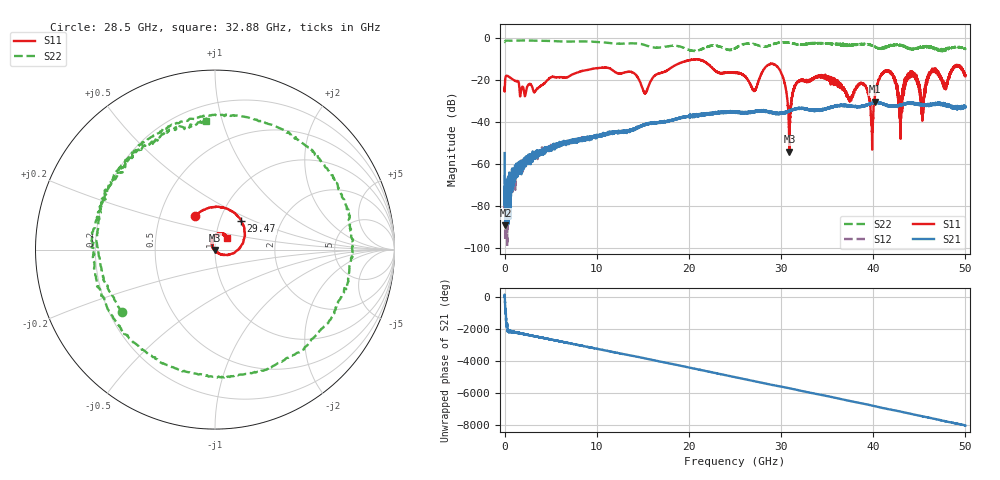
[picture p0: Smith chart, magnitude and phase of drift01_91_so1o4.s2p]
!Created with skrf (http://scikit-rf.org).
# Hz S RI R 50.0
!freq ReS11 ImS11 ReS21 ImS21 ReS12 ImS12 ReS22 ImS22
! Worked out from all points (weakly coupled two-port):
!   10001 points, 300 kHz to 50 GHz, reference 50 ohm
!   highest |S21| = -30.48 dB at 40.18 GHz (marker M1); lowest = -89.2 dB at 85.3 MHz (marker M2)
!   lowest |S11| = -54.2 dB at 30.91 GHz (marker M3), VSWR 1.00, Z = 49.9 - j0.172 ohm
!   |S11| at or under -10 dB: start of sweep to end of sweep
!   |S22| runs from -6.6 to -1.4 dB; largest |S21 - S12| = 0.0034
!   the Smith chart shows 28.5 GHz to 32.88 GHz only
!   S11 on the Smith chart (normalised r, x): 28.5 GHz: 0.75, +0.30; 29.47 GHz: 1.26, +0.42; 32.88 GHz: 1.14, +0.15
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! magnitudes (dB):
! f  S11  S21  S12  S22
! 300 kHz  -23.7  -54.8  -65.2  -2.1
! 85.3 MHz  -19.1  -89.2  -77.9  -1.5
! 8.335 GHz  -16.0  -48.5  -48.6  -1.8
! 15.24 GHz  -26.4  -41.0  -41.1  -3.6
! 16.67 GHz  -17.1  -40.2  -40.2  -4.8
! 25 GHz  -16.7  -35.3  -35.4  -5.1
! 27.11 GHz  -25.2  -35.0  -34.9  -3.1
! 28.5 GHz  -13.2  -35.2  -35.1  -4.1
! 29.47 GHz  -13.3  -36.2  -36.2  -2.7
! 30.91 GHz  -54.2  -35.0  -34.8  -2.5
! 31.61 GHz  -22.2  -33.8  -33.8  -3.1
! 32.88 GHz  -20.4  -34.0  -34.0  -2.9
! 33.34 GHz  -19.7  -34.3  -34.3  -2.7
! 38.92 GHz  -22.1  -32.6  -32.3  -3.0
! 39.85 GHz  -44.8  -31.1  -31.1  -3.8
! 40.18 GHz  -27.6  -30.5  -30.9  -4.3
! 41.67 GHz  -16.1  -32.1  -32.4  -4.3
! 42.91 GHz  -30.8  -32.2  -32.2  -3.6
! 44.07 GHz  -18.7  -30.7  -31.2  -5.3
! 45.31 GHz  -34.3  -31.9  -31.9  -4.3
! 46.42 GHz  -15.4  -32.0  -31.9  -4.7
! 50 GHz  -17.8  -32.7  -32.8  -5.4
